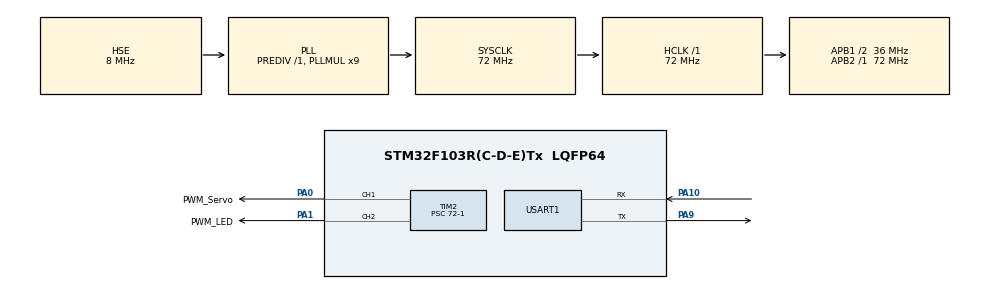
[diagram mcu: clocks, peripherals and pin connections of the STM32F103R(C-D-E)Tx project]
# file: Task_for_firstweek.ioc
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Dma.Request0=USART1_RX
Dma.Request1=USART1_TX
Dma.USART1_RX.0.Direction=DMA_PERIPH_TO_MEMORY
Dma.USART1_RX.0.Instance=DMA1_Channel5
Dma.USART1_RX.0.MemDataAlignment=DMA_MDATAALIGN_BYTE
Dma.USART1_RX.0.MemInc=DMA_MINC_ENABLE
Dma.USART1_RX.0.Mode=DMA_NORMAL
Dma.USART1_RX.0.PeriphDataAlignment=DMA_PDATAALIGN_BYTE
Dma.USART1_RX.0.PeriphInc=DMA_PINC_DISABLE
Dma.USART1_RX.0.Priority=DMA_PRIORITY_LOW
Dma.USART1_TX.1.Direction=DMA_MEMORY_TO_PERIPH
Dma.USART1_TX.1.Instance=DMA1_Channel4
Dma.USART1_TX.1.MemDataAlignment=DMA_MDATAALIGN_BYTE
Dma.USART1_TX.1.MemInc=DMA_MINC_ENABLE
Dma.USART1_TX.1.Mode=DMA_NORMAL
Dma.USART1_TX.1.PeriphDataAlignment=DMA_PDATAALIGN_BYTE
Dma.USART1_TX.1.PeriphInc=DMA_PINC_DISABLE
Dma.USART1_TX.1.Priority=DMA_PRIORITY_LOW
Mcu.Family=STM32F1
Mcu.Name=STM32F103R(C-D-E)Tx
Mcu.Package=LQFP64
NVIC.DMA1_Channel4_IRQn=true\:0\:0\:false\:false\:true\:false\:true
NVIC.DMA1_Channel5_IRQn=true\:0\:0\:false\:false\:true\:false\:true
NVIC.PriorityGroup=NVIC_PRIORITYGROUP_4
NVIC.USART1_IRQn=true\:0\:0\:false\:false\:true\:true\:true
PA0-WKUP.GPIO_Label=PWM_Servo
PA0-WKUP.Signal=S_TIM2_CH1_ETR
PA1.GPIO_Label=PWM_LED
PA1.Signal=S_TIM2_CH2
PA10.GPIO_PuPd=GPIO_PULLUP
PA10.Mode=Asynchronous
PA10.Signal=USART1_RX
PA13.Mode=Serial_Wire
PA13.Signal=SYS_JTMS-SWDIO
PA14.Mode=Serial_Wire
PA14.Signal=SYS_JTCK-SWCLK
PA9.Mode=Asynchronous
PA9.Signal=USART1_TX
PC14-OSC32_IN.Mode=LSE-External-Oscillator
PC14-OSC32_IN.Signal=RCC_OSC32_IN
PC15-OSC32_OUT.Mode=LSE-External-Oscillator
PC15-OSC32_OUT.Signal=RCC_OSC32_OUT
PD0-OSC_IN.Mode=HSE-External-Oscillator
PD0-OSC_IN.Signal=RCC_OSC_IN
PD1-OSC_OUT.Mode=HSE-External-Oscillator
PD1-OSC_OUT.Signal=RCC_OSC_OUT
ProjectManager.HeapSize=0x200
ProjectManager.StackSize=0x400
ProjectManager.TargetToolchain=MDK-ARM V5.32
RCC.AHBFreq_Value=72000000
RCC.APB1CLKDivider=RCC_HCLK_DIV2
RCC.APB1Freq_Value=36000000
RCC.APB1TimFreq_Value=72000000
RCC.APB2Freq_Value=72000000
RCC.APB2TimFreq_Value=72000000
RCC.HCLKFreq_Value=72000000
RCC.PLLMUL=RCC_PLL_MUL9
RCC.PLLSourceVirtual=RCC_PLLSOURCE_HSE
RCC.SYSCLKFreq_VALUE=72000000
RCC.SYSCLKSource=RCC_SYSCLKSOURCE_PLLCLK
RCC.USBFreq_Value=72000000
SH.S_TIM2_CH1_ETR.0=TIM2_CH1,PWM Generation1 CH1
SH.S_TIM2_CH2.0=TIM2_CH2,PWM Generation2 CH2
TIM2.Channel-PWM\ Generation1\ CH1=TIM_CHANNEL_1
TIM2.Channel-PWM\ Generation2\ CH2=TIM_CHANNEL_2
TIM2.Period=20000-1
TIM2.Prescaler=72-1
USART1.VirtualMode=VM_ASYNC
board=custom

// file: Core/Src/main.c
/* USER CODE BEGIN Header */
/**
  ******************************************************************************
  * @file           : main.c
  * @brief          : Main program body
  ******************************************************************************
  * @attention
  *
  * <h2><center>&copy; Copyright (c) 2024 STMicroelectronics.
  * All rights reserved.</center></h2>
  *
  * This software component is licensed by ST under BSD 3-Clause license,
  * the "License"; You may not use this file except in compliance with the
  * License. You may obtain a copy of the License at:
  *                        opensource.org/licenses/BSD-3-Clause
  *
  ******************************************************************************
  */
/* USER CODE END Header */
#include "main.h"
#include "dma.h"
#include "tim.h"
#include "usart.h"
#include "gpio.h"

/* USER CODE BEGIN Includes */
#include "servo.h"
/* USER CODE END Includes */

/* USER CODE BEGIN PV */
 int count=0;
 xUSATR_TypeDef xUSART1={0}; //管理串口接收

/* USER CODE END PV */

void SystemClock_Config(void);

int main(void)
{

  /* MCU Configuration--------------------------------------------------------*/

  /* Reset of all peripherals, Initializes the Flash interface and the Systick. */
  HAL_Init();

  /* Configure the system clock */
  SystemClock_Config();

  /* Initialize all configured peripherals */
  MX_GPIO_Init();
  MX_TIM2_Init();
  MX_DMA_Init();
  MX_USART1_UART_Init();
  /* USER CODE BEGIN 2 */
	HAL_TIM_Base_Start(&htim2);    //开启时基，cubeMX初始化并不会开启定时器，需要我们手动打开使能定时器
	HAL_TIM_PWM_Start(&htim2,TIM_CHANNEL_1);//开启定时器2的PWM通道1的输出
	HAL_TIM_PWM_Start(&htim2,TIM_CHANNEL_2);//开启定时器2的PWM通道2的输出

	HAL_UARTEx_ReceiveToIdle_DMA(&huart1, xUSART1.BuffTemp, sizeof(xUSART1.BuffTemp));    //开启DMA接收完成中断，串口空闲中断

  /* USER CODE END 2 */

  /* Infinite loop */
  /* USER CODE BEGIN WHILE */
  while (1)
  {
		if(xUSART1.ReceiveNum>0)//接收到了数据，解析
		{
		   xUSART1.ReceiveNum = 0;
		}

		Breathing_LED();
//		Set_Servo_Angle(90);
//		for(int i=0;i<180;i++)
//		{
//			Set_Servo_Angle(i);
//			HAL_Delay(20);
//
//		}

    /* USER CODE END WHILE */

  }
}

void SystemClock_Config(void)
{
  RCC_OscInitTypeDef RCC_OscInitStruct = {0};
  RCC_ClkInitTypeDef RCC_ClkInitStruct = {0};

  /** Initializes the RCC Oscillators according to the specified parameters
  * in the RCC_OscInitTypeDef structure.
  */
  RCC_OscInitStruct.OscillatorType = RCC_OSCILLATORTYPE_HSE;
  RCC_OscInitStruct.HSEState = RCC_HSE_ON;
  RCC_OscInitStruct.HSEPredivValue = RCC_HSE_PREDIV_DIV1;
  RCC_OscInitStruct.HSIState = RCC_HSI_ON;
  RCC_OscInitStruct.PLL.PLLState = RCC_PLL_ON;
  RCC_OscInitStruct.PLL.PLLSource = RCC_PLLSOURCE_HSE;
  RCC_OscInitStruct.PLL.PLLMUL = RCC_PLL_MUL9;
  if (HAL_RCC_OscConfig(&RCC_OscInitStruct) != HAL_OK)
  {
    Error_Handler();
  }
  /** Initializes the CPU, AHB and APB buses clocks
  */
  RCC_ClkInitStruct.ClockType = RCC_CLOCKTYPE_HCLK|RCC_CLOCKTYPE_SYSCLK
                              |RCC_CLOCKTYPE_PCLK1|RCC_CLOCKTYPE_PCLK2;
  RCC_ClkInitStruct.SYSCLKSource = RCC_SYSCLKSOURCE_PLLCLK;
  RCC_ClkInitStruct.AHBCLKDivider = RCC_SYSCLK_DIV1;
  RCC_ClkInitStruct.APB1CLKDivider = RCC_HCLK_DIV2;
  RCC_ClkInitStruct.APB2CLKDivider = RCC_HCLK_DIV1;

  if (HAL_RCC_ClockConfig(&RCC_ClkInitStruct, FLASH_LATENCY_2) != HAL_OK)
  {
    Error_Handler();
  }
}

/* USER CODE BEGIN 4 */
void Breathing_LED(void)
{
	for(int i=0;i<100;i++)
	{
		SetPWMDuty(&htim2,TIM_CHANNEL_2,i);
		HAL_Delay(100);
	}

	for(int i=0;i<100;i++)
	{
		SetPWMDuty(&htim2,TIM_CHANNEL_2,100-i);
		HAL_Delay(100);
	}
}
/* USER CODE END 4 */

void Error_Handler(void)
{
  __disable_irq();
  while (1)
  {
  }
}

/************************ (C) COPYRIGHT STMicroelectronics *****END OF FILE****/
